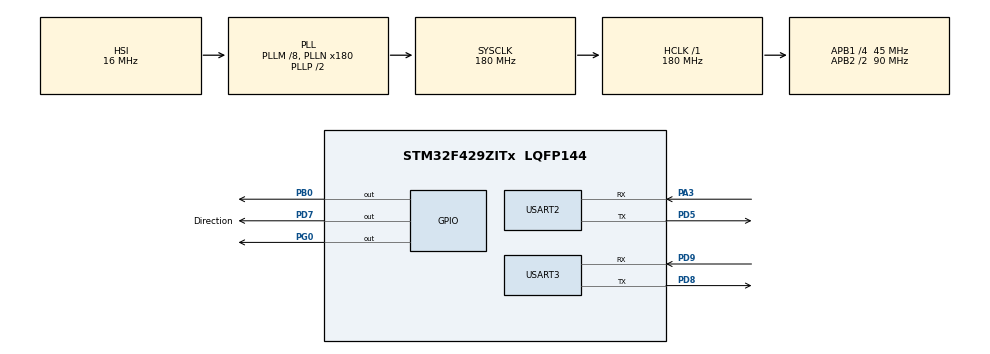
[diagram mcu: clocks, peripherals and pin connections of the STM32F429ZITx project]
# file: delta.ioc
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Dma.Request0=USART2_RX
Dma.USART2_RX.0.Direction=DMA_PERIPH_TO_MEMORY
Dma.USART2_RX.0.FIFOMode=DMA_FIFOMODE_DISABLE
Dma.USART2_RX.0.Instance=DMA1_Stream5
Dma.USART2_RX.0.MemDataAlignment=DMA_MDATAALIGN_BYTE
Dma.USART2_RX.0.MemInc=DMA_MINC_ENABLE
Dma.USART2_RX.0.Mode=DMA_NORMAL
Dma.USART2_RX.0.PeriphDataAlignment=DMA_PDATAALIGN_BYTE
Dma.USART2_RX.0.PeriphInc=DMA_PINC_DISABLE
Dma.USART2_RX.0.Priority=DMA_PRIORITY_LOW
FREERTOS.BinarySemaphores01=ReadPosSem,Dynamic,NULL
FREERTOS.Queues01=setQueue,10,queueMessage,0,Dynamic,NULL,NULL;cmdQueue,10,20,1,Dynamic,NULL,NULL
FREERTOS.Tasks01=readPosTask,0,512,read_Pos_Task,Default,NULL,Dynamic,NULL,NULL;calWritePosTask,0,512,cal_Write_Pos_Task,Default,NULL,Dynamic,NULL,NULL;cmdHandleTask,0,512,cmd_Handle_Task,Default,NULL,Dynamic,NULL,NULL
FREERTOS.configUSE_COUNTING_SEMAPHORES=1
FREERTOS.configUSE_NEWLIB_REENTRANT=1
Mcu.Family=STM32F4
Mcu.Name=STM32F429ZITx
Mcu.Package=LQFP144
NVIC.DMA1_Stream5_IRQn=true\:5\:0\:true\:false\:true\:true\:false\:true\:true
NVIC.PriorityGroup=NVIC_PRIORITYGROUP_4
NVIC.TIM4_IRQn=true\:15\:0\:false\:false\:true\:false\:false\:true\:true
NVIC.TimeBase=TIM4_IRQn
NVIC.TimeBaseIP=TIM4
NVIC.USART2_IRQn=true\:5\:0\:true\:false\:true\:true\:true\:true\:true
NVIC.USART3_IRQn=true\:5\:0\:true\:false\:true\:true\:true\:true\:true
PA13.Mode=Serial_Wire
PA13.Signal=SYS_JTMS-SWDIO
PA14.Mode=Serial_Wire
PA14.Signal=SYS_JTCK-SWCLK
PA3.Mode=Asynchronous
PA3.Signal=USART2_RX
PB0.Signal=GPIO_Output
PC14/OSC32_IN.Mode=LSE-External-Oscillator
PC14/OSC32_IN.Signal=RCC_OSC32_IN
PC15/OSC32_OUT.Mode=LSE-External-Oscillator
PC15/OSC32_OUT.Signal=RCC_OSC32_OUT
PD5.Mode=Asynchronous
PD5.Signal=USART2_TX
PD7.GPIO_Label=Direction
PD7.GPIO_ModeDefaultOutputPP=GPIO_MODE_OUTPUT_OD
PD7.GPIO_PuPd=GPIO_NOPULL
PD7.Signal=GPIO_Output
PD8.Mode=Asynchronous
PD8.Signal=USART3_TX
PD9.Mode=Asynchronous
PD9.Signal=USART3_RX
PG0.GPIO_Speed=GPIO_SPEED_FREQ_LOW
PG0.PinState=GPIO_PIN_SET
PG0.Signal=GPIO_Output
ProjectManager.HeapSize=0x200
ProjectManager.StackSize=0x400
ProjectManager.TargetToolchain=STM32CubeIDE
RCC.48MHZClocksFreq_Value=90000000
RCC.AHBFreq_Value=180000000
RCC.APB1CLKDivider=RCC_HCLK_DIV4
RCC.APB1Freq_Value=45000000
RCC.APB1TimFreq_Value=90000000
RCC.APB2CLKDivider=RCC_HCLK_DIV2
RCC.APB2Freq_Value=90000000
RCC.APB2TimFreq_Value=180000000
RCC.CortexFreq_Value=180000000
RCC.HCLKFreq_Value=180000000
RCC.HSE_VALUE=25000000
RCC.HSI_VALUE=16000000
RCC.PLLM=8
RCC.PLLN=180
RCC.RCC_RTC_Clock_Source=RCC_RTCCLKSOURCE_LSE
RCC.RCC_RTC_Clock_SourceVirtual=RCC_RTCCLKSOURCE_LSE
RCC.SYSCLKFreq_VALUE=180000000
RCC.SYSCLKSource=RCC_SYSCLKSOURCE_PLLCLK
RCC.VCOOutputFreq_Value=360000000
USART2.VirtualMode=VM_ASYNC
USART3.VirtualMode=VM_ASYNC
VP_FREERTOS_VS_CMSIS_V1.Mode=CMSIS_V1
VP_RTC_VS_RTC_Activate.Mode=RTC_Enabled
VP_SYS_VS_tim4.Mode=TIM4
board=custom

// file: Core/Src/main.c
/* USER CODE BEGIN Header */
/**
  ******************************************************************************
  * @file           : main.c
  * @brief          : Main program body
  ******************************************************************************
  * @attention
  *
  * Copyright (c) 2022 STMicroelectronics.
  * All rights reserved.
  *
  * This software is licensed under terms that can be found in the LICENSE file
  * in the root directory of this software component.
  * If no LICENSE file comes with this software, it is provided AS-IS.
  *
  ******************************************************************************
  */
/* USER CODE END Header */
#include "main.h"
#include "cmsis_os.h"
#include "dma.h"
#include "rtc.h"
#include "usart.h"
#include "gpio.h"

/* USER CODE BEGIN Includes */
#include <stdio.h>
#include "uartCallback.h"
/* USER CODE END Includes */

void SystemClock_Config(void);
void MX_FREERTOS_Init(void);

int main(void)
{

  /* MCU Configuration--------------------------------------------------------*/

  /* Reset of all peripherals, Initializes the Flash interface and the Systick. */
  HAL_Init();

  /* Configure the system clock */
  SystemClock_Config();

  /* Initialize all configured peripherals */
  MX_GPIO_Init();
  MX_DMA_Init();
  MX_RTC_Init();
  MX_USART2_UART_Init();
  MX_USART3_UART_Init();
  /* USER CODE BEGIN 2 */
  UartCallback_Init();

  /* USER CODE END 2 */

  /* Call init function for freertos objects (in freertos.c) */
  MX_FREERTOS_Init();

  /* Start scheduler */
  osKernelStart();

  /* We should never get here as control is now taken by the scheduler */
  /* Infinite loop */
  while (1)
  {

  }
}

void SystemClock_Config(void)
{
  RCC_OscInitTypeDef RCC_OscInitStruct = {0};
  RCC_ClkInitTypeDef RCC_ClkInitStruct = {0};

  /** Configure the main internal regulator output voltage
  */
  __HAL_RCC_PWR_CLK_ENABLE();
  __HAL_PWR_VOLTAGESCALING_CONFIG(PWR_REGULATOR_VOLTAGE_SCALE1);

  /** Initializes the RCC Oscillators according to the specified parameters
  * in the RCC_OscInitTypeDef structure.
  */
  RCC_OscInitStruct.OscillatorType = RCC_OSCILLATORTYPE_HSI|RCC_OSCILLATORTYPE_LSE;
  RCC_OscInitStruct.LSEState = RCC_LSE_ON;
  RCC_OscInitStruct.HSIState = RCC_HSI_ON;
  RCC_OscInitStruct.HSICalibrationValue = RCC_HSICALIBRATION_DEFAULT;
  RCC_OscInitStruct.PLL.PLLState = RCC_PLL_ON;
  RCC_OscInitStruct.PLL.PLLSource = RCC_PLLSOURCE_HSI;
  RCC_OscInitStruct.PLL.PLLM = 8;
  RCC_OscInitStruct.PLL.PLLN = 180;
  RCC_OscInitStruct.PLL.PLLP = RCC_PLLP_DIV2;
  RCC_OscInitStruct.PLL.PLLQ = 4;
  if (HAL_RCC_OscConfig(&RCC_OscInitStruct) != HAL_OK)
  {
    Error_Handler();
  }

  /** Activate the Over-Drive mode
  */
  if (HAL_PWREx_EnableOverDrive() != HAL_OK)
  {
    Error_Handler();
  }

  /** Initializes the CPU, AHB and APB buses clocks
  */
  RCC_ClkInitStruct.ClockType = RCC_CLOCKTYPE_HCLK|RCC_CLOCKTYPE_SYSCLK
                              |RCC_CLOCKTYPE_PCLK1|RCC_CLOCKTYPE_PCLK2;
  RCC_ClkInitStruct.SYSCLKSource = RCC_SYSCLKSOURCE_PLLCLK;
  RCC_ClkInitStruct.AHBCLKDivider = RCC_SYSCLK_DIV1;
  RCC_ClkInitStruct.APB1CLKDivider = RCC_HCLK_DIV4;
  RCC_ClkInitStruct.APB2CLKDivider = RCC_HCLK_DIV2;

  if (HAL_RCC_ClockConfig(&RCC_ClkInitStruct, FLASH_LATENCY_5) != HAL_OK)
  {
    Error_Handler();
  }
}

void HAL_TIM_PeriodElapsedCallback(TIM_HandleTypeDef *htim)
{
  if (htim->Instance == TIM4) {
    HAL_IncTick();
  }
}

void Error_Handler(void)
{
  __disable_irq();
  while (1)
  {
  }
}

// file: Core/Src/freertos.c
/* USER CODE BEGIN Header */
/**
  ******************************************************************************
  * File Name          : freertos.c
  * Description        : Code for freertos applications
  ******************************************************************************
  * @attention
  *
  * Copyright (c) 2022 STMicroelectronics.
  * All rights reserved.
  *
  * This software is licensed under terms that can be found in the LICENSE file
  * in the root directory of this software component.
  * If no LICENSE file comes with this software, it is provided AS-IS.
  *
  ******************************************************************************
  */
/* USER CODE END Header */

#include "FreeRTOS.h"
#include "task.h"
#include "main.h"
#include "cmsis_os.h"

/* USER CODE BEGIN Includes */
#include "dxl_control.h"
#include "DeltaKinematics.h"
#include <stdio.h>
#include <stdlib.h>
#include <string.h>
#include "cmdHandle.h"
#include "uartCallback.h"
/* USER CODE END Includes */

/* USER CODE BEGIN PD */

extern uint16_t GP[3];
extern double coord[3];

extern uint8_t rx2_Buf[RxBuf_SIZE];
/* USER CODE END PD */

/* USER CODE BEGIN Variables */
extern UART_HandleTypeDef huart3;
extern _Coordinates C;

/* USER CODE END Variables */
osThreadId readPosTaskHandle;
osThreadId calWritePosTaskHandle;
osThreadId cmdHandleTaskHandle;
osMessageQId setQueueHandle;
osMessageQId cmdQueueHandle;
osSemaphoreId ReadPosSemHandle;

void read_Pos_Task(void const * argument);
void cal_Write_Pos_Task(void const * argument);
void cmd_Handle_Task(void const * argument);

void MX_FREERTOS_Init(void); /* (MISRA C 2004 rule 8.1) */

/* GetIdleTaskMemory prototype (linked to static allocation support) */
void vApplicationGetIdleTaskMemory( StaticTask_t **ppxIdleTaskTCBBuffer, StackType_t **ppxIdleTaskStackBuffer, uint32_t *pulIdleTaskStackSize );

/* USER CODE BEGIN GET_IDLE_TASK_MEMORY */
static StaticTask_t xIdleTaskTCBBuffer;
static StackType_t xIdleStack[configMINIMAL_STACK_SIZE];

void vApplicationGetIdleTaskMemory( StaticTask_t **ppxIdleTaskTCBBuffer, StackType_t **ppxIdleTaskStackBuffer, uint32_t *pulIdleTaskStackSize )
{
  *ppxIdleTaskTCBBuffer = &xIdleTaskTCBBuffer;
  *ppxIdleTaskStackBuffer = &xIdleStack[0];
  *pulIdleTaskStackSize = configMINIMAL_STACK_SIZE;
  /* place for user code */
}
/* USER CODE END GET_IDLE_TASK_MEMORY */

void MX_FREERTOS_Init(void) {
  /* USER CODE BEGIN Init */
	deltaInit();

  /* USER CODE END Init */

  /* Create the semaphores(s) */
  /* definition and creation of ReadPosSem */
  osSemaphoreDef(ReadPosSem);
  ReadPosSemHandle = osSemaphoreCreate(osSemaphore(ReadPosSem), 1);

  /* USER CODE BEGIN RTOS_SEMAPHORES */
  /* add semaphores, ... */

	osSemaphoreWait(ReadPosSemHandle, 0);

  /* USER CODE END RTOS_SEMAPHORES */

  /* Create the queue(s) */
  /* definition and creation of setQueue */
  osMessageQDef(setQueue, 10, queueMessage);
  setQueueHandle = osMessageCreate(osMessageQ(setQueue), NULL);

  /* definition and creation of cmdQueue */
  osMessageQDef(cmdQueue, 10, 20);
  cmdQueueHandle = osMessageCreate(osMessageQ(cmdQueue), NULL);

  /* Create the thread(s) */
  /* definition and creation of readPosTask */
  osThreadDef(readPosTask, read_Pos_Task, osPriorityNormal, 0, 512);
  readPosTaskHandle = osThreadCreate(osThread(readPosTask), NULL);

  /* definition and creation of calWritePosTask */
  osThreadDef(calWritePosTask, cal_Write_Pos_Task, osPriorityNormal, 0, 512);
  calWritePosTaskHandle = osThreadCreate(osThread(calWritePosTask), NULL);

  /* definition and creation of cmdHandleTask */
  osThreadDef(cmdHandleTask, cmd_Handle_Task, osPriorityNormal, 0, 512);
  cmdHandleTaskHandle = osThreadCreate(osThread(cmdHandleTask), NULL);

}

void read_Pos_Task(void const * argument)
{
	/* USER CODE BEGIN read_Pos_Task */
	/* Infinite loop */
	for(;;)
	{
		if(osSemaphoreWait(ReadPosSemHandle, osWaitForever) == osOK)
		{
			uint16_t presentPos[3];
			for(int i = 0; i < 3; i++){
				presentPos[i]=getPresentPosition(i);
				memset(rx2_Buf, 0, sizeof(rx2_Buf));
			}
			char buf[14]="Z+999+999+999\n";
			if(presentPos[0]==0 && presentPos[1]==0 && presentPos[2]==0){

			}else {
				double* tempTheta = ConversionFromServo(presentPos[0], presentPos[1], presentPos[2]);
				forward(tempTheta[0],tempTheta[1],tempTheta[2]);

				buf[0]='Z';
				buf[1]='\0';
				for(int i=0; i<3; i++){
					if((int)coord[i] >= 0){
						strcat(buf, "+");
					}else{
						strcat(buf, "-");
					}
					char temp[4]="\0";
					sprintf(temp, "%03d",(int)abs(coord[i]));
					strcat(buf, temp);
				}
				strcat(buf, "\n");
			}

			HAL_UART_Transmit(&huart3, (uint8_t*)buf, sizeof(buf), 1000);

			osThreadSetPriority(readPosTaskHandle, osPriorityNormal);

		}
	}
  /* USER CODE END read_Pos_Task */
}

void cal_Write_Pos_Task(void const * argument)
{
  /* USER CODE BEGIN cal_Write_Pos_Task */
  /* Infinite loop */
  for(;;)
  {
	  osEvent setEvent;
	  setEvent = osMessageGet(setQueueHandle, osWaitForever);
		if(setEvent.status == osEventMessage)
		{
			queueMessage *msgp;
			msgp = setEvent.value.p;
			queueMessage msg = *(msgp);

			printf("X : %lf \r\n",msg.mX);
			printf("Y : %lf \r\n",msg.mY);
			printf("Z : %lf \r\n",msg.mZ);
			printf("Speed : %d \r\n",msg.maxSpeed);

			setCoordinates((double)msg.mX,(double)msg.mY,(double)msg.mZ);

			uint16_t GPBefore[3];
			memcpy(GPBefore, GP, sizeof(uint16_t)*3);

			inverse();
			ServoConversion();
			uint16_t diff[3];

			diff[0]=abs(GP[0]-GPBefore[0]);
			diff[1]=abs(GP[1]-GPBefore[1]);
			diff[2]=abs(GP[2]-GPBefore[2]);

			uint16_t max = (diff[0] > diff[1] && diff[0] > diff[2]) ? diff[0] : (diff[1] > diff[2]) ? diff[1] : diff[2];

			double speed[3]={100,100,100};

			if(max!=0){
				speed[0]=((double)diff[0]/max)*msg.maxSpeed;
				speed[1]=((double)diff[1]/max)*msg.maxSpeed;
				speed[2]=((double)diff[2]/max)*msg.maxSpeed;
				for(int i=0; i<3; i++){
					if(speed[i]<1) speed[i]=10;
				}
			}

			syncWriteGoalPosition(GP[0],(uint16_t)speed[0],GP[1],(uint16_t)speed[1],GP[2],(uint16_t)speed[2]);
			servoDelay(10);

		}

  }
  /* USER CODE END cal_Write_Pos_Task */
}

void cmd_Handle_Task(void const * argument)
{
  /* USER CODE BEGIN cmd_Handle_Task */
  /* Infinite loop */
  for(;;)
  {
	  osEvent setEvent;
	  setEvent = osMessageGet(cmdQueueHandle, osWaitForever);
		if(setEvent.status == osEventMessage)
		{

			queueMessage msg;
			char cmd[20]={0,};
			memcpy(cmd, setEvent.value.p, 20);
			if(cmd_handler(cmd, &msg)){
				osSemaphoreRelease(ReadPosSemHandle);
				osThreadSetPriority(readPosTaskHandle, osPriorityAboveNormal);
			}

		}

  }
  /* USER CODE END cmd_Handle_Task */
}
